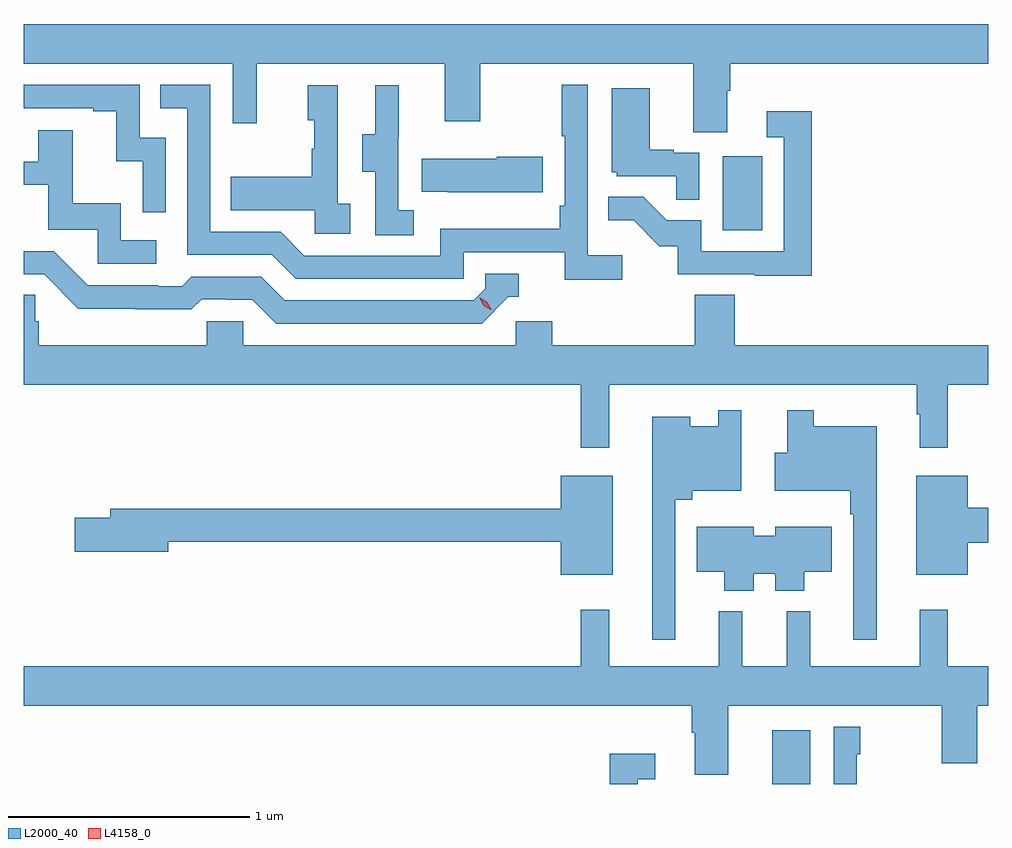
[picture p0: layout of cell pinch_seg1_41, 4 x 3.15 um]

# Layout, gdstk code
import gdstk
lib = gdstk.Library(unit=1e-6, precision=1e-09)
def R(c, l, rs):  # rectangles x0, y0, x1, y1
    for r in rs: c.add(gdstk.rectangle(r[:2], r[2:], *l))
def P(c, l, *ps):  # polygons
    for p in ps: c.add(gdstk.Polygon(p, *l))
L2000_40 = (2000, 40)
L4158_0 = (4158, 0)

pinch_seg1_41 = lib.new_cell('pinch_seg1_41')
R(pinch_seg1_41, L2000_40, [(1085.756,566.059,1085.914,566.281), (1085.552,568.356,1085.716,568.663)])
P(pinch_seg1_41, L2000_40, [(1085.569,568.936),(1085.582,568.936),(1085.582,569.048),(1086.652,569.048),(1086.652,569.212),(1082.652,569.212),(1082.652,569.048),(1083.519,569.048),(1083.519,568.8),(1083.617,568.8),(1083.617,569.048),(1084.397,569.048),(1084.397,568.809),(1084.545,568.809),(1084.545,569.048),(1085.429,569.048),(1085.429,568.762),(1085.569,568.762)],
  [(1085.134,568.252),(1084.992,568.252),(1084.992,568.96),(1084.884,568.96),(1084.884,568.747),(1084.896,568.747),(1084.896,568.459),(1084.876,568.459),(1084.876,568.363),(1084.38,568.363),(1084.38,568.251),(1083.816,568.251),(1083.717,568.35),(1083.426,568.35),(1083.426,568.959),(1083.217,568.959),(1083.217,568.863),(1083.33,568.863),(1083.33,568.254),(1083.68,568.254),(1083.779,568.155),(1084.476,568.155),(1084.476,568.266),(1084.895,568.266),(1084.895,568.15),(1085.134,568.15)],
  [(1083.24,568.74),(1083.132,568.74),(1083.132,568.959),(1082.652,568.959),(1082.652,568.863),(1082.939,568.863),(1082.939,568.851),(1083.035,568.851),(1083.035,568.643),(1083.144,568.643),(1083.144,568.431),(1083.24,568.431)],
  [(1084.27,568.439),(1084.206,568.439),(1084.206,568.743),(1084.208,568.743),(1084.208,568.957),(1084.109,568.957),(1084.109,568.755),(1084.055,568.755),(1084.055,568.6),(1084.11,568.6),(1084.11,568.336),(1084.27,568.336)],
  [(1084.006,568.466),(1083.954,568.466),(1083.954,568.957),(1083.83,568.957),(1083.83,568.812),(1083.856,568.812),(1083.856,568.694),(1083.846,568.694),(1083.846,568.579),(1083.511,568.579),(1083.511,568.439),(1083.858,568.439),(1083.858,568.341),(1084.006,568.341)],
  [(1085.454,568.677),(1085.348,568.677),(1085.348,568.69),(1085.248,568.69),(1085.248,568.945),(1085.09,568.945),(1085.09,568.596),(1085.112,568.596),(1085.112,568.581),(1085.359,568.581),(1085.359,568.483),(1085.454,568.483)],
  [(1085.921,568.849),(1085.733,568.849),(1085.733,568.743),(1085.805,568.743),(1085.805,568.269),(1085.463,568.269),(1085.463,568.398),(1085.319,568.398),(1085.221,568.496),(1085.077,568.496),(1085.077,568.397),(1085.181,568.397),(1085.288,568.29),(1085.365,568.29),(1085.365,568.173),(1085.683,568.173),(1085.683,568.168),(1085.921,568.168)],
  [(1083.202,568.314),(1083.054,568.314),(1083.054,568.468),(1082.855,568.468),(1082.855,568.771),(1082.711,568.771),(1082.711,568.641),(1082.652,568.641),(1082.652,568.545),(1082.753,568.545),(1082.753,568.359),(1082.958,568.359),(1082.958,568.218),(1083.202,568.218)],
  [(1084.804,568.662),(1084.613,568.662),(1084.613,568.654),(1084.303,568.654),(1084.303,568.517),(1084.411,568.517),(1084.411,568.514),(1084.804,568.514)],
  [(1084.662,568.08),(1084.705,568.08),(1084.705,568.176),(1084.566,568.176),(1084.566,568.113),(1084.518,568.065),(1083.735,568.065),(1083.636,568.164),(1083.347,568.164),(1083.308,568.125),(1083.209,568.125),(1083.209,568.128),(1082.916,568.128),(1082.775,568.269),(1082.652,568.269),(1082.652,568.173),(1082.736,568.173),(1082.878,568.031),(1083.114,568.031),(1083.114,568.029),(1083.347,568.029),(1083.389,568.071),(1083.492,568.071),(1083.492,568.068),(1083.599,568.068),(1083.698,567.969),(1084.551,567.969)],
  [(1085.08,567.716),(1086.357,567.716),(1086.357,567.593),(1086.368,567.593),(1086.368,567.453),(1086.485,567.453),(1086.485,567.716),(1086.652,567.716),(1086.652,567.88),(1085.6,567.88),(1085.6,568.088),(1085.435,568.088),(1085.435,567.88),(1084.844,567.88),(1084.844,567.978),(1084.692,567.978),(1084.692,567.88),(1083.561,567.88),(1083.561,567.978),(1083.411,567.978),(1083.411,567.88),(1082.714,567.88),(1082.714,567.978),(1082.699,567.978),(1082.699,568.088),(1082.652,568.088),(1082.652,567.716),(1084.963,567.716),(1084.963,567.453),(1085.08,567.453)],
  [(1085.355,567.239),(1085.424,567.239),(1085.424,567.275),(1085.628,567.275),(1085.628,567.61),(1085.532,567.61),(1085.532,567.544),(1085.416,567.544),(1085.416,567.583),(1085.258,567.583),(1085.258,566.658),(1085.355,566.658)],
  [(1086.19,567.544),(1085.929,567.544),(1085.929,567.61),(1085.819,567.61),(1085.819,567.433),(1085.766,567.433),(1085.766,567.275),(1086.081,567.275),(1086.081,567.179),(1086.093,567.179),(1086.093,566.658),(1086.19,566.658)],
  [(1086.568,567.059),(1086.652,567.059),(1086.652,567.206),(1086.568,567.206),(1086.568,567.337),(1086.353,567.337),(1086.353,566.927),(1086.568,566.927)],
  [(1085.095,567.337),(1084.88,567.337),(1084.88,567.2),(1083.011,567.2),(1083.011,567.164),(1082.862,567.164),(1082.862,567.022),(1083.25,567.022),(1083.25,567.064),(1084.88,567.064),(1084.88,566.927),(1085.095,566.927)],
  [(1085.68,566.932),(1085.768,566.932),(1085.768,566.861),(1085.89,566.861),(1085.89,566.939),(1086.004,566.939),(1086.004,567.127),(1085.768,567.127),(1085.768,567.088),(1085.68,567.088),(1085.68,567.127),(1085.444,567.127),(1085.444,566.939),(1085.558,566.939),(1085.558,566.861),(1085.68,566.861)],
  [(1085.575,566.384),(1086.46,566.384),(1086.46,566.145),(1086.607,566.145),(1086.607,566.384),(1086.652,566.384),(1086.652,566.548),(1086.485,566.548),(1086.485,566.782),(1086.368,566.782),(1086.368,566.548),(1085.915,566.548),(1085.915,566.776),(1085.816,566.776),(1085.816,566.548),(1085.633,566.548),(1085.633,566.776),(1085.534,566.776),(1085.534,566.548),(1085.081,566.548),(1085.081,566.782),(1084.963,566.782),(1084.963,566.548),(1082.652,566.548),(1082.652,566.384),(1085.423,566.384),(1085.423,566.272),(1085.435,566.272),(1085.435,566.098),(1085.575,566.098)],
  [(1086.108,566.183),(1086.121,566.183),(1086.121,566.296),(1086.012,566.296),(1086.012,566.059),(1086.108,566.059)],
  [(1085.199,566.079),(1085.272,566.079),(1085.272,566.185),(1085.083,566.185),(1085.083,566.059),(1085.199,566.059)])
P(pinch_seg1_41, L4158_0, [(1084.589,568.027),(1084.558,568.046),(1084.542,568.079),(1084.542,568.079),(1084.542,568.079),(1084.573,568.06),(1084.59,568.028),(1084.59,568.027)])

lib.write_gds('pinch_seg1_41.gds')
